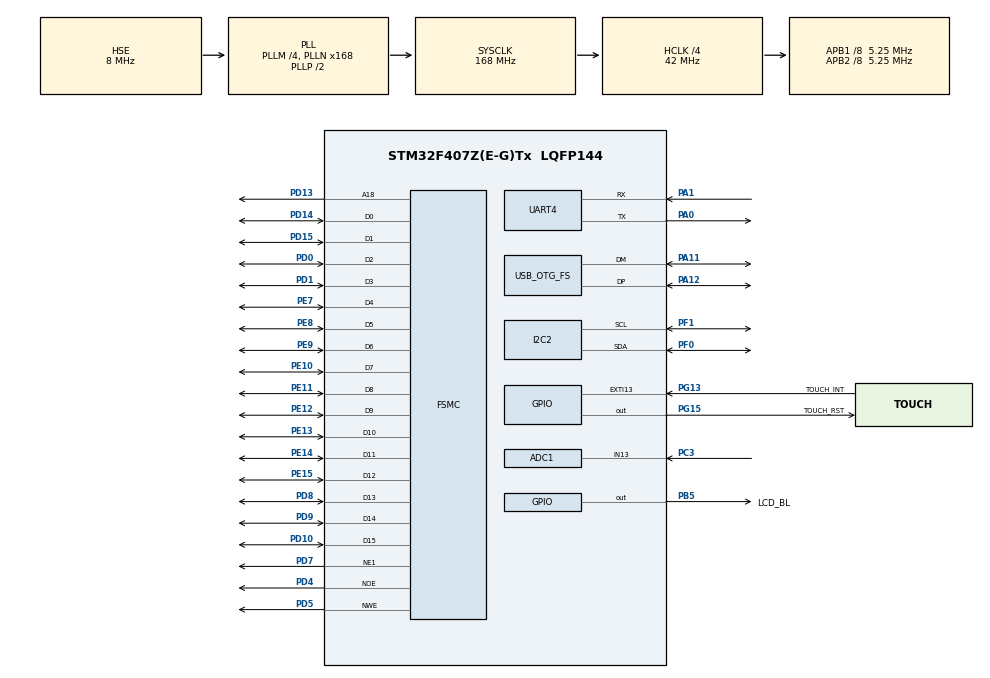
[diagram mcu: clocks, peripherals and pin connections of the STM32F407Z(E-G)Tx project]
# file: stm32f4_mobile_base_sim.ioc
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ADC1.Channel-2\#ChannelRegularConversion=ADC_CHANNEL_13
ADC1.NbrOfConversionFlag=1
ADC1.Rank-2\#ChannelRegularConversion=1
ADC1.SamplingTime-2\#ChannelRegularConversion=ADC_SAMPLETIME_3CYCLES
ADC1.master=1
FSMC.AddressSetupTime1=10
FSMC.DataSetupTime1=20
Mcu.Family=STM32F4
Mcu.Name=STM32F407Z(E-G)Tx
Mcu.Package=LQFP144
NVIC.OTG_FS_IRQn=true\:0\:0\:false\:false\:true\:false\:true\:true
NVIC.PriorityGroup=NVIC_PRIORITYGROUP_4
PA0-WKUP.Mode=Asynchronous
PA0-WKUP.Signal=UART4_TX
PA1.Mode=Asynchronous
PA1.Signal=UART4_RX
PA11.Mode=Device_Only
PA11.Signal=USB_OTG_FS_DM
PA12.Mode=Device_Only
PA12.Signal=USB_OTG_FS_DP
PB5.GPIO_Label=LCD_BL
PB5.GPIO_Speed=GPIO_SPEED_FREQ_MEDIUM
PB5.PinState=GPIO_PIN_RESET
PB5.Signal=GPIO_Output
PC3.Signal=ADCx_IN13
PD0.Signal=FSMC_D2_DA2
PD1.Signal=FSMC_D3_DA3
PD10.Signal=FSMC_D15_DA15
PD13.Signal=FSMC_A18
PD14.Signal=FSMC_D0_DA0
PD15.Signal=FSMC_D1_DA1
PD4.Signal=FSMC_NOE
PD5.Signal=FSMC_NWE
PD7.Mode=NorPsramChipSelect1_1
PD7.Signal=FSMC_NE1
PD8.Signal=FSMC_D13_DA13
PD9.Signal=FSMC_D14_DA14
PE10.Signal=FSMC_D7_DA7
PE11.Signal=FSMC_D8_DA8
PE12.Signal=FSMC_D9_DA9
PE13.Signal=FSMC_D10_DA10
PE14.Signal=FSMC_D11_DA11
PE15.Signal=FSMC_D12_DA12
PE7.Signal=FSMC_D4_DA4
PE8.Signal=FSMC_D5_DA5
PE9.Signal=FSMC_D6_DA6
PF0.Mode=I2C
PF0.Signal=I2C2_SDA
PF1.Mode=I2C
PF1.Signal=I2C2_SCL
PG13.GPIO_Label=TOUCH_INT
PG13.Signal=GPXTI13
PG15.GPIO_Label=TOUCH_RST
PG15.Signal=GPIO_Output
PH0-OSC_IN.Mode=HSE-External-Oscillator
PH0-OSC_IN.Signal=RCC_OSC_IN
PH1-OSC_OUT.Mode=HSE-External-Oscillator
PH1-OSC_OUT.Signal=RCC_OSC_OUT
ProjectManager.HeapSize=0x200
ProjectManager.StackSize=0x400
ProjectManager.TargetToolchain=STM32CubeIDE
RCC.48MHZClocksFreq_Value=48000000
RCC.AHBCLKDivider=RCC_SYSCLK_DIV4
RCC.AHBFreq_Value=42000000
RCC.APB1CLKDivider=RCC_HCLK_DIV8
RCC.APB1Freq_Value=5250000
RCC.APB1TimFreq_Value=10500000
RCC.APB2CLKDivider=RCC_HCLK_DIV8
RCC.APB2Freq_Value=5250000
RCC.APB2TimFreq_Value=10500000
RCC.CortexFreq_Value=5250000
RCC.Cortex_Div=SYSTICK_CLKSOURCE_HCLK_DIV8
RCC.HCLKFreq_Value=42000000
RCC.HSE_VALUE=8000000
RCC.HSI_VALUE=16000000
RCC.LSE_VALUE=32768
RCC.PLLM=4
RCC.PLLN=168
RCC.PLLQ=7
RCC.SYSCLKFreq_VALUE=168000000
RCC.SYSCLKSource=RCC_SYSCLKSOURCE_PLLCLK
RCC.VCOOutputFreq_Value=336000000
SH.ADCx_IN13.0=ADC1_IN13,IN13
SH.FSMC_A18.0=FSMC_A18,A18_1
SH.FSMC_D0_DA0.0=FSMC_D0,16b-d1
SH.FSMC_D10_DA10.0=FSMC_D10,16b-d1
SH.FSMC_D11_DA11.0=FSMC_D11,16b-d1
SH.FSMC_D12_DA12.0=FSMC_D12,16b-d1
SH.FSMC_D13_DA13.0=FSMC_D13,16b-d1
SH.FSMC_D14_DA14.0=FSMC_D14,16b-d1
SH.FSMC_D15_DA15.0=FSMC_D15,16b-d1
SH.FSMC_D1_DA1.0=FSMC_D1,16b-d1
SH.FSMC_D2_DA2.0=FSMC_D2,16b-d1
SH.FSMC_D3_DA3.0=FSMC_D3,16b-d1
SH.FSMC_D4_DA4.0=FSMC_D4,16b-d1
SH.FSMC_D5_DA5.0=FSMC_D5,16b-d1
SH.FSMC_D6_DA6.0=FSMC_D6,16b-d1
SH.FSMC_D7_DA7.0=FSMC_D7,16b-d1
SH.FSMC_D8_DA8.0=FSMC_D8,16b-d1
SH.FSMC_D9_DA9.0=FSMC_D9,16b-d1
SH.FSMC_NOE.0=FSMC_NOE,Lcd1
SH.FSMC_NWE.0=FSMC_NWE,Lcd1
UART4.VirtualMode=Asynchronous
USB_DEVICE.CLASS_NAME_FS=CDC
USB_DEVICE.VirtualMode-CDC_FS=Cdc
USB_DEVICE.VirtualModeFS=Cdc_FS
USB_OTG_FS.VirtualMode=Device_Only
VP_USB_DEVICE_VS_USB_DEVICE_CDC_FS.Mode=CDC_FS
board=custom

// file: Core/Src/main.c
/* USER CODE BEGIN Header */
/**
 ******************************************************************************
 * @file           : main.c
 * @brief          : Main program body
 ******************************************************************************
 * @attention
 *
 * Copyright (c) 2025 STMicroelectronics.
 * All rights reserved.
 *
 * This software is licensed under terms that can be found in the LICENSE file
 * in the root directory of this software component.
 * If no LICENSE file comes with this software, it is provided AS-IS.
 *
 ******************************************************************************
 */
/* USER CODE END Header */
#include "main.h"
#include "adc.h"
#include "i2c.h"
#include "usart.h"
#include "usb_device.h"
#include "gpio.h"
#include "fsmc.h"

/* USER CODE BEGIN Includes */
#include "ssd1306/ssd1306.h"
#include "ssd1306/ssd1306_fonts.h"
#include "usbd_cdc_if.h"

//#include "lcd_probe.c"

/* USER CODE END Includes */

/* USER CODE BEGIN PD */
#define LM75A_ADDR  (0x4F << 1)  // Shifted for HAL (8-bit address mode)
#define LM75A_TEMP_REG 0x00

/* USER CODE END PV */
/* USER CODE END PD */

void SystemClock_Config(void);

/* USER CODE BEGIN 0 */
void I2C_ScanAndDisplay(void)
{
	char buf[20];
	ssd1306_Fill(Black);
	ssd1306_SetCursor(0, 0);
	ssd1306_WriteString("I2C Scan:", Font_7x10, White);

	uint8_t found = 0;
	uint8_t y = 12; // OLED row position

	for (uint8_t addr = 1; addr < 127; addr++)
	{
		if (HAL_I2C_IsDeviceReady(&hi2c2, (addr << 1), 3, 5) == HAL_OK)
		{
			snprintf(buf, sizeof(buf), "0x%02X", addr);
			ssd1306_SetCursor(0, y);
			ssd1306_WriteString(buf, Font_7x10, White);
			y += 10;
			found = 1;
		}
	}

	if (!found)
	{
		ssd1306_SetCursor(2, 12);
		ssd1306_WriteString("No device!", Font_7x10, White);
	}

	ssd1306_UpdateScreen();
}

#define LM75A_TEMP_REG  0x00
uint8_t lm75a_addr = 0x4F << 1; // Will be set after scan

void I2C_ScanAndFindLM75A(void)
{
	for (uint8_t addr = 1; addr < 127; addr++)
	{
		if (HAL_I2C_IsDeviceReady(&hi2c2, (addr << 1), 3, 5) == HAL_OK)
		{
			if (addr == 0x4F) // Found LM75A
			{
				lm75a_addr = addr << 1; // Save 8-bit form for HAL
				break;
			}
		}
	}
}

float LM75A_ReadTemperature_Fine(void)
{
	uint8_t temp_data[2];
	int16_t raw_temp;
	float temperature;

	if (HAL_I2C_Mem_Read(&hi2c2, lm75a_addr, LM75A_TEMP_REG,
			I2C_MEMADD_SIZE_8BIT, temp_data, 2, HAL_MAX_DELAY) != HAL_OK)
	{
		return -1000.0f; // Error
	}

	// Combine MSB and LSB
	raw_temp = (temp_data[0] << 8) | temp_data[1];

	// Shift right by 5 to get rid of unused bits (bits 4..0)
	raw_temp >>= 5;

	// Sign extend 11-bit signed number if needed
	if (raw_temp & 0x400) // Check sign bit (bit 10)
	{
		raw_temp |= 0xF800; // Set upper bits to 1 for negative numbers
	}

	temperature = raw_temp * 0.125f;

	return temperature;
}

extern float vx_f, vy_f, vw_f;  // Declare these as extern if defined globally
uint8_t buffer[24];

/* USER CODE END 0 */

int main(void)
{

  /* MCU Configuration--------------------------------------------------------*/

  /* Reset of all peripherals, Initializes the Flash interface and the Systick. */
  HAL_Init();

  /* Configure the system clock */
  SystemClock_Config();

  /* Initialize all configured peripherals */
  MX_GPIO_Init();
  MX_I2C2_Init();
  MX_ADC1_Init();
  MX_USB_DEVICE_Init();
  MX_FSMC_Init();
  MX_UART4_Init();
  /* USER CODE BEGIN 2 */

	//	I2C_ScanAndDisplay();

	I2C_ScanAndFindLM75A();
	//	uint8_t lm75a_addr = 0x4F << 1; // Address of LM75A shift left by 1 bit
	ssd1306_Init();
	// After MX_GPIO_Init(); MX_FSMC_Init(); etc.
	//	HAL_GPIO_WritePin(GPIOB, GPIO_PIN_5, GPIO_PIN_SET); // PB5 backlight ON (temp as GPIO)

  /* USER CODE END 2 */

  /* Infinite loop */
  /* USER CODE BEGIN WHILE */
	while (1)
	{

		float temp = LM75A_ReadTemperature_Fine();
		uint32_t adc_val = Read_ADC_Channel();
		float voltage = adc_val * 3.3f / 4095.0f;

		// Clear the display
		ssd1306_Fill(Black);

		// Line 1: Temperature
		ssd1306_SetCursor(2, 0);
		snprintf(buffer, sizeof(buffer), "Temp: %d.%02d C",
				(int)temp, (int)((temp - (int)temp) * 100));
		ssd1306_WriteString(buffer, Font_7x10, White);

		// Line 2: Potentiometer
		ssd1306_SetCursor(2, 12);
		snprintf(buffer, sizeof(buffer), "Pot: %ld (%.2fV)", adc_val, voltage);
		ssd1306_WriteString(buffer, Font_7x10, White);

		//
		// Vx
		//		ssd1306_SetCursor(2, 24);
		//		snprintf(buffer, sizeof(buffer), "Vx: %.3f", vx_f);
		//		ssd1306_WriteString(buffer, Font_7x10, White);
		//
		//		// Vy
		//		ssd1306_SetCursor(2, 36);
		//		snprintf(buffer, sizeof(buffer), "Vy: %.3f", vy_f);
		//		ssd1306_WriteString(buffer, Font_7x10, White);
		//
		//		// Vw
		//		ssd1306_SetCursor(2, 48);
		//		snprintf(buffer, sizeof(buffer), "Vw: %.3f", vw_f);
		//		ssd1306_WriteString(buffer, Font_7x10, White);

		// Update the display
		ssd1306_UpdateScreen();

		HAL_Delay(50);
	}
    /* USER CODE END WHILE */

}

void SystemClock_Config(void)
{
  RCC_OscInitTypeDef RCC_OscInitStruct = {0};
  RCC_ClkInitTypeDef RCC_ClkInitStruct = {0};

  /** Configure the main internal regulator output voltage
  */
  __HAL_RCC_PWR_CLK_ENABLE();
  __HAL_PWR_VOLTAGESCALING_CONFIG(PWR_REGULATOR_VOLTAGE_SCALE1);

  /** Initializes the RCC Oscillators according to the specified parameters
  * in the RCC_OscInitTypeDef structure.
  */
  RCC_OscInitStruct.OscillatorType = RCC_OSCILLATORTYPE_HSE;
  RCC_OscInitStruct.HSEState = RCC_HSE_ON;
  RCC_OscInitStruct.PLL.PLLState = RCC_PLL_ON;
  RCC_OscInitStruct.PLL.PLLSource = RCC_PLLSOURCE_HSE;
  RCC_OscInitStruct.PLL.PLLM = 4;
  RCC_OscInitStruct.PLL.PLLN = 168;
  RCC_OscInitStruct.PLL.PLLP = RCC_PLLP_DIV2;
  RCC_OscInitStruct.PLL.PLLQ = 7;
  if (HAL_RCC_OscConfig(&RCC_OscInitStruct) != HAL_OK)
  {
    Error_Handler();
  }

  /** Initializes the CPU, AHB and APB buses clocks
  */
  RCC_ClkInitStruct.ClockType = RCC_CLOCKTYPE_HCLK|RCC_CLOCKTYPE_SYSCLK
                              |RCC_CLOCKTYPE_PCLK1|RCC_CLOCKTYPE_PCLK2;
  RCC_ClkInitStruct.SYSCLKSource = RCC_SYSCLKSOURCE_PLLCLK;
  RCC_ClkInitStruct.AHBCLKDivider = RCC_SYSCLK_DIV4;
  RCC_ClkInitStruct.APB1CLKDivider = RCC_HCLK_DIV8;
  RCC_ClkInitStruct.APB2CLKDivider = RCC_HCLK_DIV8;

  if (HAL_RCC_ClockConfig(&RCC_ClkInitStruct, FLASH_LATENCY_1) != HAL_OK)
  {
    Error_Handler();
  }
}

void Error_Handler(void)
{
	__disable_irq();
	while (1)
	{
	}
}
